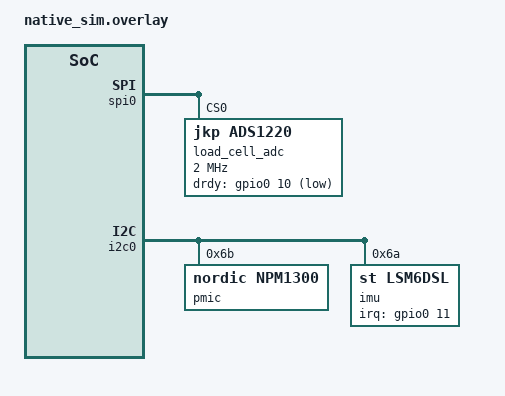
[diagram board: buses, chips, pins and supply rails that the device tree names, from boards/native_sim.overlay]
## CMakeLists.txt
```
# SPDX-License-Identifier: Apache-2.0

cmake_minimum_required(VERSION 3.20.0)

find_package(Zephyr REQUIRED HINTS $ENV{ZEPHYR_BASE})
project(test_hal)

target_compile_options(app PRIVATE -Werror)

target_sources(app PRIVATE
    src/test_ads1220.cpp
    src/test_npm13xx.cpp
    src/test_sensor_motion.cpp
)
```

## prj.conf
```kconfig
# GoogleTest unit test of the Zephyr HAL implementations against native_sim's
# emulated peripherals (gpio_emul, the repo's temperature, ADS1220 and nPM1300
# emulators, Zephyr's LSM6DSL emulator).
CONFIG_GTEST=y

CONFIG_CPP=y
CONFIG_STD_CPP23=y
CONFIG_REQUIRES_FULL_LIBCPP=y
CONFIG_CPP_EXCEPTIONS=n
CONFIG_CPP_RTTI=n

CONFIG_ASSERT=y
CONFIG_BOOT_BANNER=n

CONFIG_GPIO=y
CONFIG_SENSOR=y
CONFIG_SPI=y
CONFIG_I2C=y
CONFIG_REGULATOR=y
CONFIG_LSM6DSL_TRIGGER_GLOBAL_THREAD=y
CONFIG_EMUL=y

# native_sim's default 100 Hz tick is too coarse to emulate 1000 conversions/s.
CONFIG_SYS_CLOCK_TICKS_PER_SEC=100000

# gtest/gmock need more stack and heap than Zephyr's defaults.
CONFIG_MAIN_STACK_SIZE=32768
CONFIG_HEAP_MEM_POOL_SIZE=131072
```

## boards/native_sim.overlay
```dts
/* SPDX-License-Identifier: Apache-2.0 */

/* An emulated ADS1220 on native_sim's SPI emulator bus, /DRDY on an emulated GPIO. */
&spi0 {
	load_cell_adc: ads1220@0 {
		compatible = "jkp,ads1220";
		reg = <0>;
		spi-max-frequency = <2000000>;
		drdy-gpios = <&gpio0 10 GPIO_ACTIVE_LOW>;
		low-side-power-switch;
	};
};

/*
 * An emulated nPM1300 on native_sim's I2C emulator bus: Zephyr's own MFD,
 * charger and regulator drivers run against the repo's register emulator.
 */
&i2c0 {
	pmic: npm1300@6b {
		compatible = "nordic,npm1300";
		reg = <0x6b>;

		pmic_charger: charger {
			compatible = "nordic,npm1300-charger";
			term-microvolt = <4200000>;
			current-microamp = <500000>;
			dischg-limit-microamp = <1000000>;
			vbus-limit-microamp = <500000>;
			thermistor-ohms = <10000>;
			thermistor-beta = <3380>;
			charging-enable;
		};

		pmic_regulators: regulators {
			compatible = "nordic,npm1300-regulator";
		};
	};

	/* Zephyr's LSM6DSL driver (patched with a motion trigger) against its emulator.
	 * Deferred, as on the XIAO, where the PMIC powers the sensor after sensor init.
	 */
	imu: lsm6dsl@6a {
		compatible = "st,lsm6dsl";
		reg = <0x6a>;
		irq-gpios = <&gpio0 11 GPIO_ACTIVE_HIGH>;
		zephyr,deferred-init;
	};
};
```

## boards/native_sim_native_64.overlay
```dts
/* SPDX-License-Identifier: Apache-2.0 */

/* Zephyr picks overlays by full board target; share the native_sim one. */
#include "native_sim.overlay"
```

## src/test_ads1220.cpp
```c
/**
 * @file test_ads1220.cpp
 * @brief hal::zephyr::Ads1220 and the ADS1220 driver against the emulated chip (jkp,ads1220 on spi0).
 *
 * SPDX-License-Identifier: Apache-2.0
 */

#include <zephyr/device.h>
#include <zephyr/drivers/emul.h>

#include <array>
#include <cerrno>
#include <chrono>
#include <cstdint>
#include <gtest/gtest.h>
#include <hal/zephyr/ads1220.hpp>
#include <jkp/drivers/ads1220.h>
#include <jkp/drivers/ads1220_emul.h>
#include <system_error>

using namespace std::chrono_literals;

namespace
{

const emul *const emulator = EMUL_DT_GET( DT_NODELABEL( load_cell_adc ) );

using hal::SampleRate;

std::int32_t ten_per_conversion( void * /*context*/, std::uint32_t index )
{
    return static_cast<std::int32_t>( index ) * 10;
}

class Ads1220Test : public ::testing::Test
{
protected:
    void SetUp() override
    {
        ASSERT_TRUE( adc_.init() );
    }

    void TearDown() override
    {
        (void)adc_.stop();
        ads1220_emul_set_raw( emulator, 0 );
    }

    /** @brief Long enough for a conversion at any rate (20 SPS = 50 ms). */
    static constexpr std::chrono::microseconds timeout = 100ms;

    hal::zephyr::Ads1220 adc_{ DEVICE_DT_GET( DT_NODELABEL( load_cell_adc ) ) };
};

TEST_F( Ads1220Test, StaysPoweredDownUntilStarted )
{
    EXPECT_FALSE( ads1220_emul_is_converting( emulator ) );
}

TEST_F( Ads1220Test, ConfiguresRatiometricBridgeInput )
{
    ASSERT_TRUE( adc_.start( SampleRate::sps175 ) );

    std::array<std::uint8_t, 4> registers{};
    ads1220_emul_get_registers( emulator, registers.data() );

    EXPECT_EQ( registers[0], 0x3E ); // AIN1 vs AIN2, gain 128, PGA enabled
    EXPECT_EQ( registers[1], 0x64 ); // 175 SPS, normal mode, continuous conversion
    EXPECT_EQ( registers[2], 0x48 ); // reference REFP0/REFN0, low-side power switch
    EXPECT_EQ( registers[3], 0x00 ); // /DRDY on its own pin
    EXPECT_TRUE( ads1220_emul_is_converting( emulator ) );
}

TEST_F( Ads1220Test, ReadReturnsSignedTwentyFourBitSamples )
{
    ASSERT_TRUE( adc_.start( SampleRate::sps1000 ) );

    for( std::int32_t const raw : { 0, 123456, -123456, ( 1 << 23 ) - 1, -( 1 << 23 ) } ) {
        ads1220_emul_set_raw( emulator, raw );
        (void)adc_.read( timeout ); // may hold a conversion latched before the change

        auto sample = adc_.read( timeout );

        ASSERT_TRUE( sample );
        EXPECT_EQ( sample->raw, raw );
    }
}

TEST_F( Ads1220Test, ReadsEveryConversionInOrderAtFullRate )
{
    ads1220_emul_set_source( emulator, ten_per_conversion, nullptr );
    ASSERT_TRUE( adc_.start( SampleRate::sps1000 ) );

    for( std::int32_t expected = 0; expected < 500; expected += 10 ) {
        auto sample = adc_.read( timeout );

        ASSERT_TRUE( sample );
        ASSERT_EQ( sample->raw, expected );
    }
}

TEST_F( Ads1220Test, TimestampsFollowConversionsNotReads )
{
    ASSERT_TRUE( adc_.start( SampleRate::sps1000 ) );
    auto first = adc_.read( timeout );
    ASSERT_TRUE( first );

    // Read the next conversion late: its timestamp is still when it completed.
    k_busy_wait( 400 );
    auto second = adc_.read( timeout );

    ASSERT_TRUE( second );
    EXPECT_EQ( second->timestamp_us - first->timestamp_us, 1000U );
}

TEST_F( Ads1220Test, TimestampsAreEvenlySpacedAtEveryRate )
{
    // The emulator's timer rounds its period up to whole ticks.
    constexpr std::uint64_t tick_us = 1'000'000U / CONFIG_SYS_CLOCK_TICKS_PER_SEC;

    for( SampleRate const rate : hal::all_sample_rates ) {
        ASSERT_TRUE( adc_.start( rate ) ) << hal::samples_per_second( rate ) << " SPS";
        auto first = adc_.read( timeout );
        auto second = adc_.read( timeout );
        ASSERT_TRUE( first && second );
        std::uint64_t const period = second->timestamp_us - first->timestamp_us;
        EXPECT_GE( period, 1'000'000U / hal::samples_per_second( rate ) ) << hal::samples_per_second( rate ) << " SPS";
        EXPECT_LE( period, ( 1'000'000U / hal::samples_per_second( rate ) ) + tick_us ) << hal::samples_per_second( rate ) << " SPS";

        auto previous = second;
        for( int i = 0; i < 5; ++i ) {
            auto sample = adc_.read( timeout );
            ASSERT_TRUE( sample );
            EXPECT_EQ( sample->timestamp_us - previous->timestamp_us, period ) << hal::samples_per_second( rate ) << " SPS";
            previous = sample;
        }
        ASSERT_TRUE( adc_.stop() );
    }
}

TEST_F( Ads1220Test, CountsSamplesOverwrittenBeforeBeingRead )
{
    ads1220_emul_set_source( emulator, ten_per_conversion, nullptr );
    ASSERT_TRUE( adc_.start( SampleRate::sps1000 ) );
    ASSERT_TRUE( adc_.read( timeout ) );
    EXPECT_EQ( adc_.lost_samples(), 0U );

    k_sleep( K_USEC( 5500 ) ); // five conversions complete; only the last can be read
    auto sample = adc_.read( timeout );

    ASSERT_TRUE( sample );
    EXPECT_EQ( adc_.lost_samples(), 4U );
    EXPECT_EQ( sample->raw, 50 ); // the newest conversion

    ASSERT_TRUE( adc_.start( SampleRate::sps1000 ) );
    EXPECT_EQ( adc_.lost_samples(), 0U ); // reset by start
}

TEST_F( Ads1220Test, SupportsEveryNormalModeRate )
{
    for( SampleRate const rate : hal::all_sample_rates ) {
        ASSERT_TRUE( adc_.start( rate ) ) << hal::samples_per_second( rate ) << " SPS";
        EXPECT_TRUE( adc_.read( timeout ) ) << hal::samples_per_second( rate ) << " SPS";
        ASSERT_TRUE( adc_.stop() );
    }
}

TEST( SampleRateTest, ConvertsFromSamplesPerSecond )
{
    for( SampleRate const rate : hal::all_sample_rates ) {
        EXPECT_EQ( hal::to_sample_rate( hal::samples_per_second( rate ) ), rate );
    }
    for( std::uint16_t const unsupported : { 0, 100, 176, 2000 } ) {
        EXPECT_EQ( hal::to_sample_rate( unsupported ).error(), std::errc::not_supported ) << unsupported;
    }
}

static_assert( hal::samples_per_second( SampleRate::sps175 ) == 175 );

TEST_F( Ads1220Test, DriverRejectsUnsupportedRate )
{
    // Only the C API can be given a rate outside SampleRate.
    EXPECT_EQ( ads1220_start( DEVICE_DT_GET( DT_NODELABEL( load_cell_adc ) ), 100 ), -ENOTSUP );
    EXPECT_FALSE( ads1220_emul_is_converting( emulator ) );
}

TEST_F( Ads1220Test, ReadFailsWhenNotStarted )
{
    auto sample = adc_.read( timeout );

    ASSERT_FALSE( sample );
    EXPECT_EQ( sample.error(), std::errc::operation_not_permitted );
}

TEST_F( Ads1220Test, ReadTimesOutBeforeNextConversion )
{
    ASSERT_TRUE( adc_.start( SampleRate::sps20 ) ); // one conversion every 50 ms

    auto sample = adc_.read( 1ms );

    ASSERT_FALSE( sample );
    EXPECT_EQ( sample.error(), std::errc::resource_unavailable_try_again );
}

TEST_F( Ads1220Test, StopPowersDown )
{
    ASSERT_TRUE( adc_.start( SampleRate::sps1000 ) );
    ASSERT_TRUE( adc_.read( timeout ) );

    ASSERT_TRUE( adc_.stop() );

    EXPECT_FALSE( ads1220_emul_is_converting( emulator ) );
    EXPECT_EQ( adc_.read( timeout ).error(), std::errc::operation_not_permitted );
}

TEST( Ads1220NoDeviceTest, InitFailsWithoutDevice )
{
    hal::zephyr::Ads1220 adc{ nullptr };

    EXPECT_EQ( adc.init().error(), std::errc::no_such_device );
}

} // namespace
```

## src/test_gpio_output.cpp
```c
/**
 * @file test_gpio.cpp
 * @brief hal::zephyr::GpioOutput against native_sim's emulated GPIO (led0 on gpio_emul).
 *
 * SPDX-License-Identifier: Apache-2.0
 */

#include <zephyr/drivers/gpio.h>
#include <zephyr/drivers/gpio/gpio_emul.h>

#include <gtest/gtest.h>
#include <hal/zephyr/gpio_output.hpp>
#include <system_error>

namespace
{

constexpr gpio_dt_spec led = GPIO_DT_SPEC_GET( DT_ALIAS( led0 ), gpios );

/** Physical pin level the emulator saw for a logical level, honouring GPIO_ACTIVE_LOW. */
int physical( bool active )
{
    bool const active_low = ( led.dt_flags & GPIO_ACTIVE_LOW ) != 0;
    return ( active != active_low ) ? 1 : 0;
}

TEST( GpioOutputTest, InitDrivesInitialLevel )
{
    hal::zephyr::GpioOutput output{ led };

    ASSERT_TRUE( output.init( false ) );
    EXPECT_EQ( gpio_emul_output_get( led.port, led.pin ), physical( false ) );

    ASSERT_TRUE( output.init( true ) );
    EXPECT_EQ( gpio_emul_output_get( led.port, led.pin ), physical( true ) );
}

TEST( GpioOutputTest, SetDrivesPin )
{
    hal::zephyr::GpioOutput output{ led };
    ASSERT_TRUE( output.init( false ) );

    ASSERT_TRUE( output.set( true ) );
    EXPECT_EQ( gpio_emul_output_get( led.port, led.pin ), physical( true ) );

    ASSERT_TRUE( output.set( false ) );
    EXPECT_EQ( gpio_emul_output_get( led.port, led.pin ), physical( false ) );
}

TEST( GpioOutputTest, InitFailsWithoutController )
{
    hal::zephyr::GpioOutput output{ gpio_dt_spec{ .port = nullptr, .pin = 0, .dt_flags = 0 } };

    auto ret = output.init( false );

    ASSERT_FALSE( ret );
    EXPECT_EQ( ret.error(), std::errc::no_such_device );
}

} // namespace
```

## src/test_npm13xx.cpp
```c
/**
 * @file test_npm13xx.cpp
 * @brief hal::zephyr::Npm13xxCharger and RegulatorShipMode against the nPM1300 emulator,
 *        through Zephyr's own nPM13xx drivers.
 *
 * SPDX-License-Identifier: Apache-2.0
 */

#include <zephyr/device.h>
#include <zephyr/drivers/emul.h>

#include <gtest/gtest.h>
#include <hal/zephyr/npm13xx_charger.hpp>
#include <hal/zephyr/regulator_ship_mode.hpp>
#include <jkp/drivers/npm1300_emul.h>

namespace
{

const emul *const pmic = EMUL_DT_GET( DT_NODELABEL( pmic ) );

class Npm13xxTest : public ::testing::Test
{
protected:
    void TearDown() override
    {
        npm1300_emul_set_battery_mv( pmic, 3750 );
        npm1300_emul_set_charging( pmic, false );
        npm1300_emul_set_charge_complete( pmic, false );
        npm1300_emul_set_vbus( pmic, false );
    }

    hal::zephyr::Npm13xxCharger charger_{ DEVICE_DT_GET( DT_NODELABEL( pmic_charger ) ) };
    hal::zephyr::RegulatorShipMode ship_mode_{ DEVICE_DT_GET( DT_NODELABEL( pmic_regulators ) ) };
};

TEST_F( Npm13xxTest, InitSucceedsForReadyDevices )
{
    EXPECT_TRUE( charger_.init() );
    EXPECT_TRUE( ship_mode_.init() );
}

TEST_F( Npm13xxTest, ReadsTheBatteryVoltage )
{
    auto status = charger_.read();
    ASSERT_TRUE( status );
    EXPECT_EQ( status->millivolts, 3750U ); // 768 codes of 5000/1024 mV: exact
    EXPECT_EQ( status->charge, hal::ChargeState::idle );
    EXPECT_FALSE( status->external_power );
}

TEST_F( Npm13xxTest, ReadsTheCurrentAndDieTemperature )
{
    auto status = charger_.read();
    ASSERT_TRUE( status );
    EXPECT_EQ( status->microamps, 0 );
    EXPECT_NEAR( status->die_millicelsius, 25'000, 1'000 );
}

TEST_F( Npm13xxTest, ReportsChargingAndUsbPower )
{
    npm1300_emul_set_charging( pmic, true );
    npm1300_emul_set_vbus( pmic, true );
    auto status = charger_.read();
    ASSERT_TRUE( status );
    EXPECT_EQ( status->charge, hal::ChargeState::constant_current );
    EXPECT_TRUE( status->charging() );
    EXPECT_TRUE( status->external_power );
}

TEST_F( Npm13xxTest, ReportsTheChargeComplete )
{
    npm1300_emul_set_charge_complete( pmic, true );
    npm1300_emul_set_vbus( pmic, true );
    auto status = charger_.read();
    ASSERT_TRUE( status );
    EXPECT_EQ( status->charge, hal::ChargeState::complete );
    EXPECT_FALSE( status->charging() );
}

TEST_F( Npm13xxTest, UsbPowerWithoutChargingIsNotCharging )
{
    npm1300_emul_set_vbus( pmic, true );
    auto status = charger_.read();
    ASSERT_TRUE( status );
    EXPECT_FALSE( status->charging() );
    EXPECT_TRUE( status->external_power );
}

// Last: the emulator stays in ship mode afterwards.
TEST_F( Npm13xxTest, PowerOffEntersShipMode )
{
    EXPECT_FALSE( npm1300_emul_in_ship_mode( pmic ) );
    EXPECT_TRUE( ship_mode_.power_off() );
    EXPECT_TRUE( npm1300_emul_in_ship_mode( pmic ) );
}

} // namespace
```

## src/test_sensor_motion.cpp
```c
/**
 * @file test_sensor_motion.cpp
 * @brief hal::zephyr::SensorMotion and GpioWakeSystemOff against Zephyr's LSM6DSL driver and emulator.
 *
 * SPDX-License-Identifier: Apache-2.0
 */

#include "lsm6dsl.h"
#include "lsm6dsl_emul.h"

#include <zephyr/device.h>
#include <zephyr/drivers/emul.h>
#include <zephyr/drivers/gpio.h>
#include <zephyr/kernel.h>

#include <cstdint>
#include <gtest/gtest.h>
#include <hal/zephyr/gpio_wake_system_off.hpp>
#include <hal/zephyr/sensor_motion.hpp>
#include <system_error>

namespace
{

const emul *const imu = EMUL_DT_GET( DT_NODELABEL( imu ) );

std::uint8_t imu_register( std::uint8_t address )
{
    std::uint8_t value = 0;
    lsm6dsl_emul_get_reg( imu, address, &value, 1 );
    return value;
}

/** @brief The trigger handler runs on the system work queue: give it a moment. */
bool moved_within( hal::IMotionSensor &sensor, k_timeout_t timeout )
{
    k_timepoint_t const end = sys_timepoint_calc( timeout );
    while( !sys_timepoint_expired( end ) ) {
        if( sensor.moved() ) {
            return true;
        }
        k_msleep( 1 );
    }
    return false;
}

// One instance for the suite: the driver keeps a pointer to its trigger.
hal::zephyr::SensorMotion motion{ DEVICE_DT_GET( DT_NODELABEL( imu ) ), 125, 2 };

TEST( SensorMotionTest, InitStartsTheDeferredSensorAndArmsMotion )
{
    ASSERT_TRUE( motion.init() );

    EXPECT_NE( imu_register( LSM6DSL_REG_CTRL1_XL ) & LSM6DSL_MASK_CTRL1_XL_ODR_XL, 0U ) << "accelerometer running";
    EXPECT_EQ( imu_register( LSM6DSL_REG_CTRL2_G ) & LSM6DSL_MASK_CTRL2_G_ODR_G, 0U ) << "gyroscope off";
    EXPECT_EQ( imu_register( LSM6DSL_REG_WAKE_UP_THS ) & LSM6DSL_MASK_WAKE_UP_THS_WK_THS, 4U ) << "125 mg";
    EXPECT_EQ( ( imu_register( LSM6DSL_REG_WAKE_UP_DUR ) & LSM6DSL_MASK_WAKE_UP_DUR_WAKE_DUR ) >> LSM6DSL_SHIFT_WAKE_UP_DUR_WAKE_DUR, 2U )
        << "2 samples";
    EXPECT_NE( imu_register( LSM6DSL_REG_MD1_CFG ) & LSM6DSL_MASK_MD1_CFG_INT1_WU, 0U ) << "wake-up on INT1";
    EXPECT_EQ( imu_register( LSM6DSL_REG_INT1_CTRL ), 0U ) << "nothing else on INT1";
}

TEST( SensorMotionTest, ReportsAMoveOnce )
{
    ASSERT_TRUE( motion.init() );
    EXPECT_FALSE( motion.moved() );

    lsm6dsl_emul_wake_up( imu );

    EXPECT_TRUE( moved_within( motion, K_MSEC( 100 ) ) );
    EXPECT_FALSE( motion.moved() );
}

TEST( GpioWakeSystemOffTest, IsNotSupportedOnNativeSim )
{
    hal::zephyr::GpioWakeSystemOff system_off{ GPIO_DT_SPEC_GET( DT_NODELABEL( imu ), irq_gpios ) };

    EXPECT_TRUE( system_off.init() );
    EXPECT_EQ( system_off.power_off(), std::unexpected( std::errc::not_supported ) );
}

} // namespace
```

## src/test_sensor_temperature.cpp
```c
/**
 * @file test_sensor_temperature.cpp
 * @brief hal::zephyr::SensorTemperature against the emulated temperature sensor (jkp,temperature-emul).
 *
 * SPDX-License-Identifier: Apache-2.0
 */

#include <zephyr/device.h>
#include <zephyr/drivers/sensor.h>

#include <cerrno>
#include <gtest/gtest.h>
#include <hal/zephyr/sensor_temperature.hpp>
#include <jkp/drivers/temperature_emul.h>
#include <system_error>

namespace
{

const device *const emul = DEVICE_DT_GET( DT_NODELABEL( temp_emul ) );
constexpr std::int32_t initial_millicelsius = DT_PROP( DT_NODELABEL( temp_emul ), millicelsius );

class SensorTemperatureTest : public ::testing::Test
{
protected:
    void TearDown() override
    {
        temperature_emul_set( emul, initial_millicelsius );
        temperature_emul_set_fetch_error( emul, 0 );
    }

    hal::zephyr::SensorTemperature sensor_{ emul, SENSOR_CHAN_DIE_TEMP };
};

TEST_F( SensorTemperatureTest, InitSucceedsForReadyDevice )
{
    EXPECT_TRUE( sensor_.init() );
}

TEST( SensorTemperatureNoDeviceTest, InitFailsWithoutDevice )
{
    hal::zephyr::SensorTemperature sensor{ nullptr, SENSOR_CHAN_DIE_TEMP };

    auto ret = sensor.init();

    ASSERT_FALSE( ret );
    EXPECT_EQ( ret.error(), std::errc::no_such_device );
}

TEST_F( SensorTemperatureTest, ReadReturnsDevicetreeValue )
{
    auto millicelsius = sensor_.read_millicelsius();

    ASSERT_TRUE( millicelsius );
    EXPECT_EQ( *millicelsius, initial_millicelsius );
}

TEST_F( SensorTemperatureTest, ReadFollowsSensorValue )
{
    temperature_emul_set( emul, -5250 );

    auto millicelsius = sensor_.read_millicelsius();

    ASSERT_TRUE( millicelsius );
    EXPECT_EQ( *millicelsius, -5250 );
}

TEST_F( SensorTemperatureTest, ReadPropagatesFetchError )
{
    temperature_emul_set_fetch_error( emul, -EIO );

    auto millicelsius = sensor_.read_millicelsius();

    ASSERT_FALSE( millicelsius );
    EXPECT_EQ( millicelsius.error(), std::errc::io_error );
}

} // namespace
```
